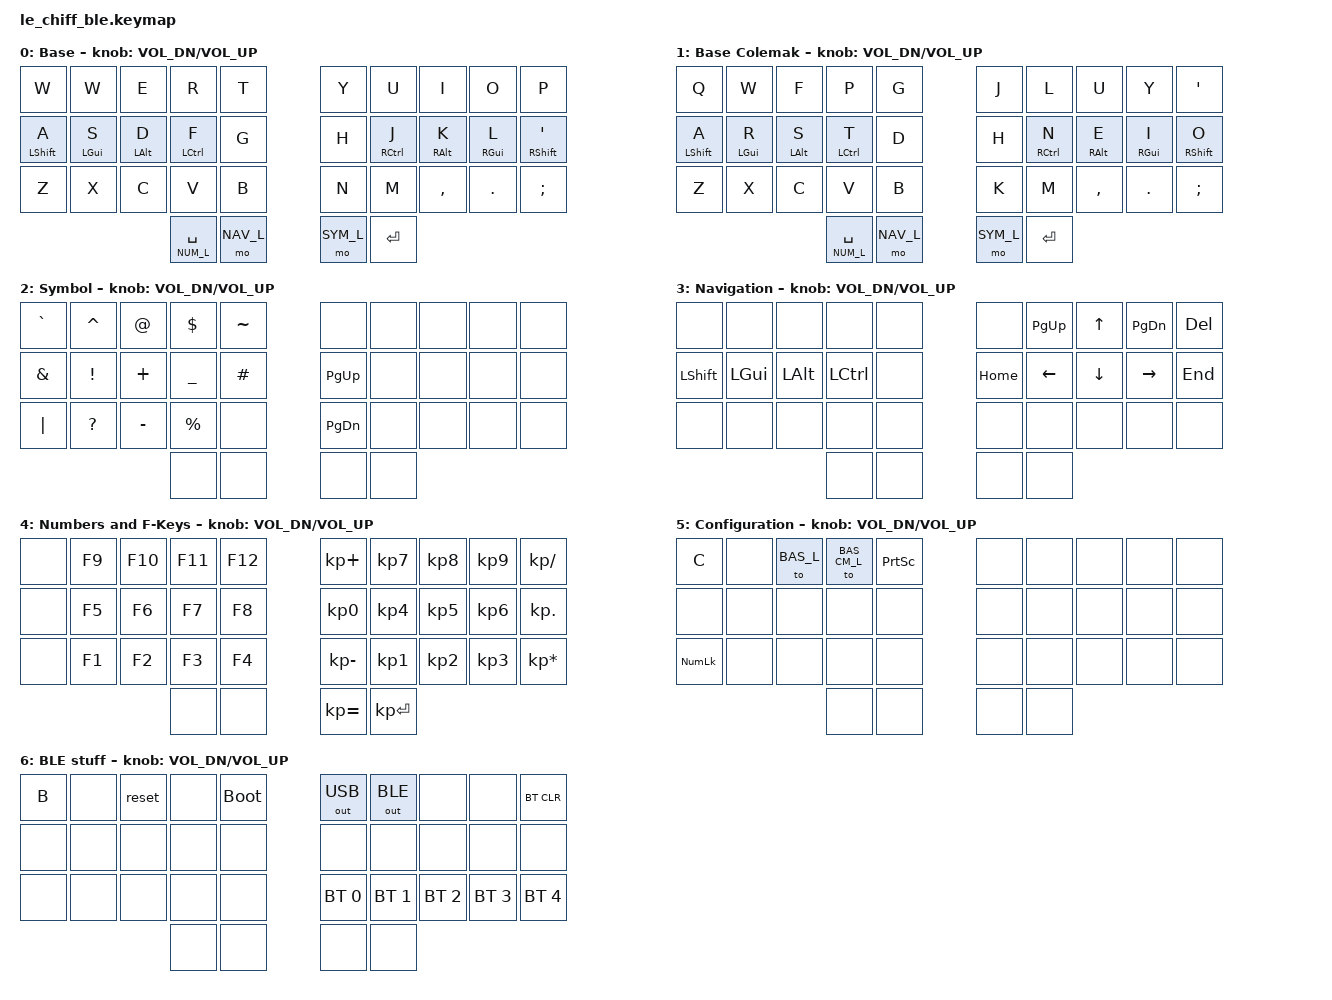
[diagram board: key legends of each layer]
/*
 * Copyright (c) 2021 @MangoIV
 *
 * SPDX-License-Identifier: MIT
 */

#include <behaviors.dtsi>
#include <dt-bindings/zmk/keys.h>
#include <dt-bindings/zmk/bt.h>
#include <dt-bindings/zmk/outputs.h>

#define BAS_L 0
#define BAS_CM_L 1
#define SYM_L 2
#define NAV_L 3
#define NUM_L 4
#define CFG_L 5
#define BLE_L 6

// makes it possible to hold backspace
&mt {
    quick_tap_ms = <200>;
};

&lt {
    quick_tap_ms = <200>;
};

/ {
    combos {
        compatible = "zmk,combos";

        combo_slash {
            timeout-ms = <50>;
            key-positions = <0 10>;
            layers = <BAS_L BAS_CM_L>;
            bindings = <&kp SLASH>;
            };
        combo_lBracket {
            timeout-ms = <50>;
            key-positions = <1 11>;
            layers = <BAS_L BAS_CM_L>;
            bindings = <&kp LEFT_BRACKET>;
            };
        combo_lBrace {
            timeout-ms = <50>;
            key-positions = <2 12>;
            layers = <BAS_L BAS_CM_L>;
            bindings = <&kp LEFT_BRACE>;
            };
        combo_lParanthesis {
            timeout-ms = <50>;
            key-positions = <3 13>;
            layers = <BAS_L BAS_CM_L>;
            bindings = <&kp LEFT_PARENTHESIS>;
            };
        combo_equal {
            timeout-ms = <50>;
            key-positions = <4 14>;
            layers = <BAS_L BAS_CM_L>;
            bindings = <&kp EQUAL>;
            };

        combo_asterix {
            timeout-ms = <50>;
            key-positions = <5 15>;
            layers = <BAS_L BAS_CM_L>;
            bindings = <&kp ASTERISK>;
            };

        combo_rParanthesis {
            timeout-ms = <50>;
            key-positions = <6 16>;
            layers = <BAS_L BAS_CM_L>;
            bindings = <&kp RIGHT_PARENTHESIS>;
            };
        combo_rBrace {
            timeout-ms = <50>;
            key-positions = <7 17>;
            layers = <BAS_L BAS_CM_L>;
            bindings = <&kp RIGHT_BRACE>;
            };
        combo_rBracket {
            timeout-ms = <50>;
            key-positions = <8 18>;
            layers = <BAS_L BAS_CM_L>;
            bindings = <&kp RIGHT_BRACKET>;
            };
        combo_bSlash {
            timeout-ms = <50>;
            key-positions = <9 19>;
            layers = <BAS_L BAS_CM_L>;
            bindings = <&kp BACKSLASH>;
            };

        combo_tab {
            timeout-ms = <50>;
            key-positions = <1 2>;
            bindings = <&kp TAB>;
            };
        combo_backspace {
            timeout-ms = <50>;
            key-positions = <7 8>;
            bindings = <&kp BACKSPACE>;
            };
        combo_esc {
            timeout-ms = <50>;
            key-positions = <0 1>;
            bindings = <&kp ESCAPE>;
            };

        combo_cfgLayer {
            timeout-ms = <50>;
            key-positions = <31 32>;
            bindings = <&mo CFG_L>;
            };

        combo_bleLayer {
            timeout-ms = <50>;
            key-positions = <30 31>;
            bindings = <&mo BLE_L>;
            };

        combo_capsWord {
            timeout-ms = <50>;
            key-positions = <22 27>;
            bindings = <&caps_word>;
            };

    };

    behaviors {
        hm: homerow_mods {
            compatible = "zmk,behavior-hold-tap";
            label = "homerow mods";
            #binding-cells = <2>;
            tapping_term_ms = <180>;
            flavor = "tap-preferred";
            bindings = <&kp>, <&kp>;
        };
    };
    
// COMBOS
// vertical
// -------------------------------     -------------------------------
// |  Q  |  W  |  E  |  R  |  T  |     |  Y  |  U  |  I  |  O  |  P  | 
// |  /  |  [  |  {  |  (  |  =  |     |  *  |  )  |  }  |  ]  |  \  |  
// |  A  |  S  |  D  |  F  |  G  |     |  H  |  J  |  K  |  L  |  '  | 
//
// others:
// Q + W - escape
// W + E - tab
// I + O - backspace
// C + , - word caps
// both inner thumbs -> Layer CFG
// both left thumbs  -> Layer BLE

    keymap {
        compatible = "zmk,keymap";

        default_layer {
            label = "Base";
// -------------------------------     -------------------------------
// |  Q  |  W  |  E  |  R  |  T  |  -  |  Y  |  U  |  I  |  O  |  P  | 
// |A sft|S win|D alt|F ctl|  G  |     |  H  |J ctl|K alt|L win|' sft| 
// |  Z  |  X  |  C  |  V  |  B  |  -  |  N  |  M  |  ,  |  .  |  ;  | 
// ------|    Spc    |    Nav    |     |    Sym    |    Ent    |------
//       -------------------------     -------------------------
            bindings = <
                &kp W       &kp W       &kp E       &kp R       &kp T                   &kp Y       &kp U       &kp I       &kp O       &kp P
                &hm LSHFT A &hm LGUI S  &hm LALT D  &hm LCTRL F &kp G                   &kp H       &hm RCTRL J &hm RALT K  &hm RGUI L  &hm RSHFT QUOT
                &kp Z       &kp X       &kp C       &kp V       &kp B                   &kp N       &kp M       &kp COMMA   &kp DOT     &kp SEMI
                                          &lt NUM_L SPACE  &mo NAV_L                  &mo SYM_L   &kp RET 
            >;
            sensor-bindings = <&inc_dec_kp C_VOL_DN C_VOL_UP>;
        };
    
        colemak_layer {
            label = "Base Colemak";
// -------------------------------     -------------------------------
// |  Q  |  W  |  F  |  P  |  G  |  -  |  J  |  L  |  U  |  Y  |  '  | 
// |A sft|R win|S alt|T ctl|  D  |     |  H  |N ctl|E alt|I win|O sft| 
// |  Z  |  X  |  C  |  V  |  B  |  -  |  K  |  M  |  ,  |  .  |  ;  | 
// ------|    Spc    |    Nav    |     |    Sym    |    Ent    |------
//       -------------------------     -------------------------
            bindings = <
                &kp Q       &kp W       &kp F       &kp P       &kp G                   &kp J       &kp L       &kp U       &kp Y       &kp QUOT
                &hm LSHFT A &hm LGUI R  &hm LALT S  &hm LCTRL T &kp D                   &kp H       &hm RCTRL N &hm RALT E  &hm RGUI I  &hm RSHFT O
                &kp Z       &kp X       &kp C       &kp V       &kp B                   &kp K       &kp M       &kp COMMA   &kp DOT     &kp SEMI
                                          &lt NUM_L SPACE  &mo NAV_L                  &mo SYM_L   &kp RET 
            >;
            sensor-bindings = <&inc_dec_kp C_VOL_DN C_VOL_UP>;
        };

        sym_layer {
            label = "Symbol";
// -------------------------------     -------------------------------
// |  `  |  ^  |  @  |  $  |  ~  |  -  |     |     |     |     |     | 
// |  &  |  !  |  +  |  _  |  #  |     |pg up|     |     |     |     | 
// |  |  |  ?  |  -  |  %  |     |  -  |pg dn|     |     |     |     | 
// ------|           |    CFG    |     |           |           |------
//       -------------------------     -------------------------
            bindings = <
                &kp GRAVE   &kp CARET   &kp AT      &kp DOLLAR  &kp TILDE               &none       &none       &none       &none       &none
                &kp AMPS    &kp EXCL    &kp PLUS    &kp UNDER   &kp HASH                &kp PG_UP   &none       &none       &none       &none
                &kp PIPE    &kp QMARK   &kp MINUS   &kp PERCENT &none                   &kp PG_DN   &none       &none       &none       &none
                                                    &none       &none                   &none       &none
            >;
            sensor-bindings = <&inc_dec_kp C_VOL_DN C_VOL_UP>;
        };
        
        nav_layer {
            label = "Navigation";
// -------------------------------     -------------------------------
// |     |     |     |     |     |  -  |     |pg dn| up  |pg up| del | 
// |     |     |     |     |     |     |home |left |down |right| end | 
// |     |     |     |     |     |  -  |     |prev | play|stop | next| 
// ------|           |           |     |    CFG    |           |------
//       -------------------------     -------------------------
            bindings = <
                &none       &none       &none       &none       &none                   &none       &kp PG_UP   &kp UP      &kp PG_DN   &kp DEL
                &kp LSHFT   &kp LGUI    &kp LALT    &kp LCTRL   &none                   &kp HOME    &kp LEFT    &kp DOWN    &kp RIGHT   &kp END
                &none       &none       &none       &none       &none                   &none       &none       &none       &none       &none
                                                    &none       &none                   &none       &none
            >;
            sensor-bindings = <&inc_dec_kp C_VOL_DN C_VOL_UP>;
        };

        num_layer {
            label = "Numbers and F-Keys";
// -------------------------------     -------------------------------
// |     |  F9 | F10 | F11 | F12 |  -  |  +  | num7| num8| num9|  /  | 
// |     |  F5 |  F6 |  F7 |  F8 |     |  0  | num4| num5| num6|  .  | 
// |     |  F1 |  F2 |  F3 |  F4 |  -  |  -  | num1| num2| num3|  *  | 
// ------|           |           |     |     =     |   ENTER   |------
//       -------------------------     -------------------------
            bindings = <
                &none       &kp F9      &kp F10     &kp F11     &kp F12                 &kp KP_PLUS &kp KP_N7   &kp KP_N8   &kp KP_N9   &kp KP_SLASH 
                &none       &kp F5      &kp F6      &kp F7      &kp F8                  &kp KP_N0   &kp KP_N4   &kp KP_N5   &kp KP_N6   &kp KP_DOT
                &none       &kp F1      &kp F2      &kp F3      &kp F4                  &kp KP_MINUS &kp KP_N1  &kp KP_N2   &kp KP_N3   &kp KP_MULTIPLY
                                                    &none       &none                   &kp KP_EQUAL &kp KP_ENTER
            >;
            sensor-bindings = <&inc_dec_kp C_VOL_DN C_VOL_UP>;
        };
        
        cfg_layer {
            label = "Configuration";
// -------------------------------     -------------------------------
// |     |     |     |     |     |  -  |PSCRN|     |  ü  |     |     | 
// |  ä  |     |  ß  |     |     |     |     |     |     |     |  oe | 
// |numlk|     |     |     |     |  -  |     |     |     |     |     | 
// ------|           |           |     |           |           |------
//       -------------------------     -------------------------
            bindings = <
                &kp C       &none       &to BAS_L    &to BAS_CM_L  &kp PSCRN               &none       &none       &none       &none       &none
                &none       &none       &none        &none         &none                   &none       &none       &none       &none       &none
                &kp KP_NUM  &none       &none        &none         &none                   &none       &none       &none       &none       &none
                                                     &none         &none                   &none       &none
            >;
            sensor-bindings = <&inc_dec_kp C_VOL_DN C_VOL_UP>; 
        };
        
        ble_layer {
            label = "BLE stuff";
// -------------------------------     -------------------------------
// |     |     |     |     |     |  -  | USB | BLE |     |     |BTCLR| 
// |     |     |     |     |     |     |     |     |     |     |     | 
// |     |     |     |     |     |  -  |BT_0 |BT_1 |BT_2 |BT_3 |BT_4 | 
// ------|           |           |     |           |           |------
//       -------------------------     -------------------------
            bindings = <
                &kp B       &none       &reset      &none       &bootloader         &out OUT_USB &out OUT_BLE &none        &none        &bt BT_CLR
                &none       &none       &none       &none       &none               &none        &none        &none        &none        &none
                &none       &none       &none       &none       &none               &bt BT_SEL 0 &bt BT_SEL 1 &bt BT_SEL 2 &bt BT_SEL 3 &bt BT_SEL 4
                                                    &none       &none               &none       &none
            >;
            sensor-bindings = <&inc_dec_kp C_VOL_DN C_VOL_UP>;
        };
    };
};
